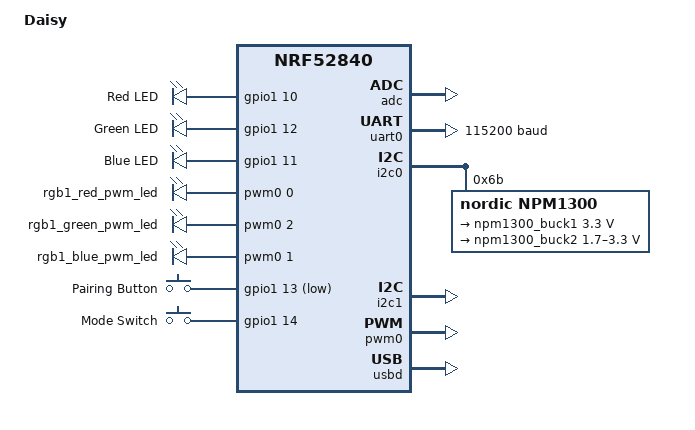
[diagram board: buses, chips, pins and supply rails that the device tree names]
/*
 * Copyright (c) 2017 Linaro Limited
 *
 * SPDX-License-Identifier: Apache-2.0
 */

/dts-v1/;
#include <nordic/nrf52840_qiaa.dtsi>
#include "daisy-pinctrl.dtsi"
#include <dt-bindings/regulator/npm1300.h>
#include <zephyr/dt-bindings/input/input-event-codes.h>

/ {
	model = "Daisy";
	compatible = "flower,daisy";

	chosen {
		zephyr,console = &uart0;
		zephyr,shell-uart = &uart0;
		zephyr,uart-mcumgr = &uart0;
		zephyr,bt-mon-uart = &uart0;
		zephyr,bt-c2h-uart = &uart0;
		zephyr,sram = &sram0;
		zephyr,flash = &flash0;
		/* No Bootloader, straight into application */
		// zephyr,code-partition = &slot0_partition;
		/* UF2 Adafruit Bootloader */
		zephyr,code-partition = &code_partition;
		zmk,battery = &npm1300_charger;
	};

	/**
	  * RGB LEDs for charge indication
	  * No pull-downs on PCB, so enable them here.
	  */
	leds {
		compatible = "gpio-leds";
		red_led: led_0 {
		    gpios = <&gpio1 10 (GPIO_ACTIVE_HIGH | GPIO_PULL_DOWN)>;
		    label = "Red LED";
		};
		green_led: led_2 {
		    gpios = <&gpio1 12 (GPIO_ACTIVE_HIGH | GPIO_PULL_DOWN)>;
		    label = "Green LED";
		};
		blue_led: led_1 {
		    gpios = <&gpio1 11 (GPIO_ACTIVE_HIGH | GPIO_PULL_DOWN)>;
		    label = "Blue LED";
		};
	};

	pwmleds {
		compatible = "pwm-leds";

		rgb1_red_pwm_led: pwm_led_0 {
			pwms = <&pwm0 0 PWM_MSEC(20) PWM_POLARITY_NORMAL>;
		};

		rgb1_green_pwm_led: pwm_led_1 {
			pwms = <&pwm0 2 PWM_MSEC(20) PWM_POLARITY_NORMAL>;
		};

		rgb1_blue_pwm_led: pwm_led_2 {
			pwms = <&pwm0 1 PWM_MSEC(20) PWM_POLARITY_NORMAL>;
		};
	};

	buttons {
		compatible = "gpio-keys";
		button0: button_0 {
			gpios = <&gpio1 13 GPIO_ACTIVE_LOW>;
			label = "Pairing Button";
			zephyr,code = <INPUT_BTN_SELECT>;
		};
		/* Looking from the top, left side is low, right side is high */
		/* Left side is assigned "Wireless", right side "USB" */
		protocol_switch: button_1 {
			gpios = <&gpio1 14 (GPIO_ACTIVE_HIGH | GPIO_PULL_UP)>;
			label = "Mode Switch";
			zephyr,code = <INPUT_BTN_MODE>;
		};
	};

	/* These aliases are provided for compatibility with samples */
	aliases {
		led0 = &red_led;
		led1 = &green_led;
		led2 = &blue_led;
		pwm-led0 = &rgb1_red_pwm_led;
		pwm-led1 = &rgb1_green_pwm_led;
		pwm-led2 = &rgb1_blue_pwm_led;
		red-pwm-led = &rgb1_red_pwm_led;
		green-pwm-led = &rgb1_green_pwm_led;
		blue-pwm-led = &rgb1_blue_pwm_led;
		bootloader-led0 = &red_led;
		mcuboot-button0 = &button0;
		mcuboot-led0 = &red_led;
		watchdog0 = &wdt0;
	};
};

&adc {
	status = "okay";
};

&uicr {
	// Use 	P0.09 and P0.10 as GPIO for KSO instead of NFC
	nfct-pins-as-gpios;
	// Use P0.18 as nRESET
	gpio-as-nreset;
};

&gpiote {
	status = "okay";
};

&gpio0 {
	status = "okay";
};

&gpio1 {
	status = "okay";
};

&uart0 {
	compatible = "nordic,nrf-uarte";
	status = "okay";
	current-speed = <115200>;
	pinctrl-0 = <&uart0_default>;
	pinctrl-1 = <&uart0_sleep>;
	pinctrl-names = "default", "sleep";
};

&uart1 {
	status = "disabled";
};

&i2c0 {
	compatible = "nordic,nrf-twi";
	status = "okay";
	pinctrl-0 = <&i2c0_default>;
	pinctrl-1 = <&i2c0_sleep>;
	pinctrl-names = "default", "sleep";

	npm1300: pmic@6b {
		compatible = "nordic,npm1300";
		reg = <0x6b>;

		npm1300_ek_leds: leds {
			compatible = "nordic,npm1300-led";
			nordic,led0-mode = "host";
			nordic,led1-mode = "host";
			nordic,led2-mode = "host";
		};

		npm1300_regulators: regulators {
			compatible = "nordic,npm1300-regulator";
			npm1300_buck1: BUCK1 {
				regulator-min-microvolt = <3300000>;
				regulator-max-microvolt = <3300000>;
				regulator-boot-on;
			};
			npm1300_buck2: BUCK2 {
				/* On boot VOUT2 is 3.3V, configured by 330k OHm resistor to VSET2 */
				/* This power rail drives the RGB LEDs and the nRF52 3.3V rail. */
				/* The lowest voltag ethe nRF52 can run at it 1.7V */
				regulator-min-microvolt = <1700000>;
				regulator-init-microvolt = <3300000>;
				regulator-max-microvolt = <3300000>;
				regulator-boot-on;
			};
		};
		// 1200mAh Li-ion battery
		npm1300_charger: charger {
			compatible = "nordic,npm1300-charger";
			/* Charge Limit Voltage 4.2V */
			term-microvolt = <4200000>;
			/* A little lower than charge limit */
			term-warm-microvolt = <4000000>;
			/* 240mA (0.2C) constant current charge */
			current-microamp = <240000>;
			/* Maximum discharge current 1200mA (1C) */
			/* Below 0degC only 240mA (0.2C) are allowed */
			/* Fow now set to 600mA (0.5C)   are allowed */
			dischg-limit-microamp = <600000>;
			/* 1.5A VBUS limit for Type-C without PD negotiation */
			vbus-limit-microamp = <1500000>;
			/* NTC Thermistor */
			thermistor-ohms = <10000>;
			thermistor-beta = <3435>;
			charging-enable;
		};
	};
};

&i2c1 {
	compatible = "nordic,nrf-twi";
	status = "okay";
	pinctrl-0 = <&i2c1_default>;
	pinctrl-1 = <&i2c1_sleep>;
	pinctrl-names = "default", "sleep";
};

&pwm0 {
	status = "okay";
	pinctrl-0 = <&pwm0_default>;
	pinctrl-1 = <&pwm0_sleep>;
	pinctrl-names = "default", "sleep";
};

/* No external flash ROM or other SPI interfaces */
&qspi {
	status = "disabled";
};
&spi1 {
	status = "disabled";
};
&spi2 {
	status = "disabled";
};
&spi3 {
	status = "disabled";
};

&ieee802154 {
	status = "disabled";
};

/* No Bootloader, straight into application */
// &flash0 {
//
// 	partitions {
// 		compatible = "fixed-partitions";
// 		#address-cells = <1>;
// 		#size-cells = <1>;
//
// 		boot_partition: partition@0 {
// 			label = "mcuboot";
// 			reg = <0x00000000 0x0000C000>;
// 		};
// 		slot0_partition: partition@c000 {
// 			label = "image-0";
// 			reg = <0x0000C000 0x00076000>;
// 		};
// 		slot1_partition: partition@82000 {
// 			label = "image-1";
// 			reg = <0x00082000 0x00076000>;
// 		};
//
// 		/*
// 		 * The flash starting at 0x000f8000 and ending at
// 		 * 0x000fffff is reserved for use by the application.
// 		 */
//
// 		/*
// 		 * Storage partition will be used by FCB/LittleFS/NVS
// 		 * if enabled.
// 		 */
// 		storage_partition: partition@f8000 {
// 			label = "storage";
// 			reg = <0x000f8000 0x00008000>;
// 		};
// 	};
// };

/* UF2 Adafruit Bootloader */
&flash0 {
	partitions {
		compatible = "fixed-partitions";
		#address-cells = <1>;
		#size-cells = <1>;

		sd_partition: partition@0 {
			label = "softdevice";
			reg = <0x00000000 0x00027000>;
		};

		code_partition: partition@27000 {
			label = "code_partition";
			reg = <0x00027000 0x000c5000>;
		};

		/*
		 * The flash starting at 0x000ec000 and ending at
		 * 0x000f3fff is reserved for use by the application.
		 *
		 * Storage partition will be used by FCB/LittleFS/NVS
		 * if enabled.
		 */
		storage_partition: partition@ec000 {
			label = "storage";
			reg = <0x000ec000 0x00008000>;
		};

		boot_partition: partition@f4000 {
			label = "adafruit_boot";
			reg = <0x000f4000 0x0000c000>;
		};
	};
};

zephyr_udc0: &usbd {
	compatible = "nordic,nrf-usbd";
	status = "okay";
};
